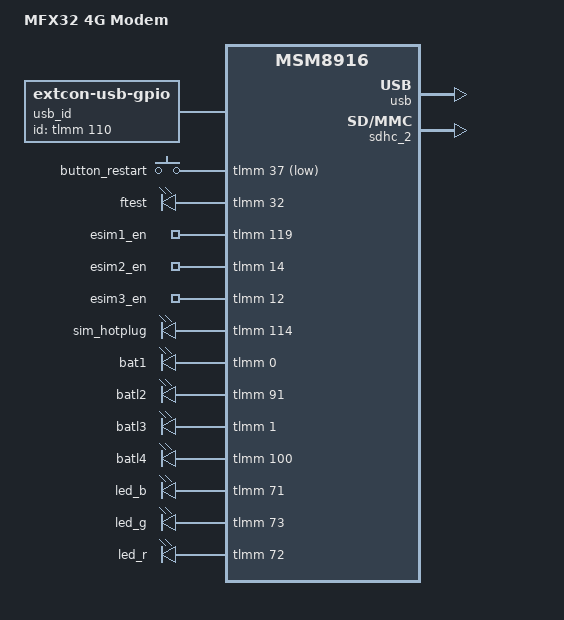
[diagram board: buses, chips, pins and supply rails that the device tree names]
// SPDX-License-Identifier: GPL-2.0-only

/dts-v1/;

#include "msm8916-ufi.dtsi"
#include "msm8916-memory-exp.dtsi"
#include "msm8916-ufi-battery.dtsi"

/ {
 	model = "MFX32 4G Modem";
 	compatible = "ufi,mfx32", "qcom,msm8916", "lk2nd,device";

	usb_id: usb-id {
		compatible = "linux,extcon-usb-gpio";
		id-gpios = <&tlmm 110 GPIO_ACTIVE_HIGH>;
		pinctrl-0 = <&usb_id_default>;
		pinctrl-names = "default";
	};

};

&cpu_opp_table {
	opp-1094400000 {
		opp-hz = /bits/ 64 <1094400000>;
	};
	opp-1152000000 {
		opp-hz = /bits/ 64 <1152000000>;
	};
	opp-1209600000 {
		opp-hz = /bits/ 64 <1209600000>;
	};
	opp-1248000000 {
		opp-hz = /bits/ 64 <1248000000>;
	};
	opp-1363200000 {
		opp-hz = /bits/ 64 <1363200000>;
	};
	opp-1401600000 {
		opp-hz = /bits/ 64 <1401600000>;
	};
	opp-1497600000 {
		opp-hz = /bits/ 64 <1497600000>;
	};
	opp-1593600000 {
		opp-hz = /bits/ 64 <1593600000>;
	};
	opp-1689600000 {
		opp-hz = /bits/ 64 <1689600000>;
	};
	opp-1785600000 {
		opp-hz = /bits/ 64 <1785600000>;
	};
	opp-1881600000 {
		opp-hz = /bits/ 64 <1881600000>;
	};
	opp-1977600000 {
		opp-hz = /bits/ 64 <1977600000>;
	};
	opp-2073600000 {
		opp-hz = /bits/ 64 <2073600000>;
	};
};

&button_restart {
	gpios = <&tlmm 37 GPIO_ACTIVE_LOW>;
};

&usb {
	extcon = <&usb_id>, <&usb_id>;
	status = "okay";
};

&usb_hs_phy {
	extcon = <&usb_id>;
};

&leds {
	status = "okay";
	
	ftest {
		gpios = <&tlmm 32 GPIO_ACTIVE_HIGH>;
		label = "ftest";
		linux,default-trigger = "none";
		default-state = "keep";
		retain-state-suspended;
	};

	esim1_en {
		gpios = <&tlmm 119 GPIO_ACTIVE_HIGH>;
		label = "esim1_en";
		linux,default-trigger = "none";
		default-state = "on";
		retain-state-suspended;
	};

	esim2_en {
		gpios = <&tlmm 14 GPIO_ACTIVE_HIGH>;
		label = "esim2_en";
		linux,default-trigger = "none";
		default-state = "keep";
		retain-state-suspended;
	};

	esim3_en {
		gpios = <&tlmm 12 GPIO_ACTIVE_HIGH>;
		label = "esim3_en";
		linux,default-trigger = "none";
		default-state = "keep";
		retain-state-suspended;
	};

	sim_hotplug {
		gpios = <&tlmm 114 GPIO_ACTIVE_HIGH>;
		label = "sim_hotplug";
		linux,default-trigger = "none";
		default-state = "keep";
		retain-state-suspended;
	};

	bat1 {
		gpios = <&tlmm 0 GPIO_ACTIVE_HIGH>;
		label = "bat1";
		linux,default-trigger = "none";
		default-state = "off";
		retain-state-suspended;
	};

	batl2 {
		gpios = <&tlmm 91 GPIO_ACTIVE_HIGH>;
		label = "batl2";
		linux,default-trigger = "none";
		default-state = "off";
		retain-state-suspended;
	};

	batl3 {
		gpios = <&tlmm 1 GPIO_ACTIVE_HIGH>;
		label = "batl3";
		linux,default-trigger = "none";
		default-state = "off";
		retain-state-suspended;
	};

	batl4 {
		gpios = <&tlmm 100 GPIO_ACTIVE_HIGH>;
		label = "batl4";
		linux,default-trigger = "none";
		default-state = "off";
		retain-state-suspended;
	};
};

&led_b {
	gpios = <&tlmm 71 GPIO_ACTIVE_HIGH>;
	linux,default-trigger = "none";
};

&led_g {
	gpios = <&tlmm 73 GPIO_ACTIVE_HIGH>;
	linux,default-trigger = "mmc0";
};

&led_r {
	gpios = <&tlmm 72 GPIO_ACTIVE_HIGH>;
	linux,default-trigger = "panic";
};

&sdhc_2 {
	status = "okay";
};

&button_default {
	pins = "gpio37";
	bias-pull-up;
};

&gpio_leds_default {
	pins = "gpio72", "gpio71", "gpio70", "gpio73", "gpio0", "gpio91", "gpio1", "gpio100";
};

/* This selects the external SIM card slot by default */
&tlmm {
	
	usb_id_default: usb-id-default-state {
		pins = "gpio110";
		function = "gpio";
		drive-strength = <8>;
		bias-pull-up;
	};

	gpio_i2c_default: gpio_i2c_default {
        i2c_pins_config {
            pins = "gpio18", "gpio19";
            function = "gpio";
            drive-strength = <2>;
            bias-pull-up;
			input-enable;
        };
    };
};
